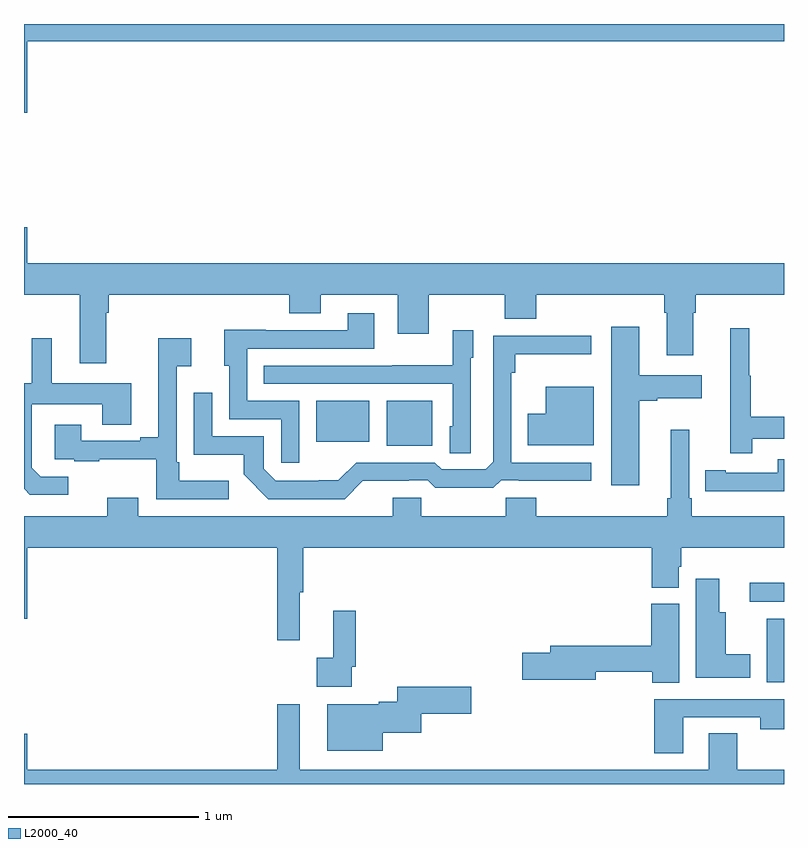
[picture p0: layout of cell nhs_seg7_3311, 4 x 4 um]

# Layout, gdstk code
import gdstk
lib = gdstk.Library(unit=1e-6, precision=1e-09)
def R(c, l, rs):  # rectangles x0, y0, x1, y1
    for r in rs: c.add(gdstk.rectangle(r[:2], r[2:], *l))
def P(c, l, *ps):  # polygons
    for p in ps: c.add(gdstk.Polygon(p, *l))
L2000_40 = (2000, 40)

nhs_seg7_3311 = lib.new_cell('nhs_seg7_3311')
R(nhs_seg7_3311, L2000_40, [(324.908,1038.536,325,1038.871), (324.819,1038.96,325,1039.058), (322.91,1039.781,323.149,1040.017), (322.538,1039.802,322.816,1040.017)])
P(nhs_seg7_3311, L2000_40, [(321.016,1041.908),(325,1041.908),(325,1042),(321,1042),(321,1041.534),(321.016,1041.534)],
  [(321.433,1040.48),(321.446,1040.48),(321.446,1040.576),(322.397,1040.576),(322.397,1040.477),(322.561,1040.477),(322.561,1040.576),(322.967,1040.576),(322.967,1040.37),(323.131,1040.37),(323.131,1040.576),(323.531,1040.576),(323.531,1040.448),(323.695,1040.448),(323.695,1040.576),(324.371,1040.576),(324.371,1040.48),(324.383,1040.48),(324.383,1040.256),(324.523,1040.256),(324.523,1040.48),(324.536,1040.48),(324.536,1040.576),(325,1040.576),(325,1040.74),(321.016,1040.74),(321.016,1040.929),(321,1040.929),(321,1040.576),(321.293,1040.576),(321.293,1040.214),(321.433,1040.214)],
  [(322.449,1040.016),(322.176,1040.016),(322.176,1040.292),(322.843,1040.292),(322.843,1040.478),(322.703,1040.478),(322.703,1040.388),(322.273,1040.388),(322.273,1040.39),(322.055,1040.39),(322.055,1040.202),(322.08,1040.202),(322.08,1039.92),(322.353,1039.92),(322.353,1039.692),(322.449,1039.692)],
  [(324.238,1040.018),(324.334,1040.018),(324.334,1040.03),(324.568,1040.03),(324.568,1040.152),(324.238,1040.152),(324.238,1040.407),(324.092,1040.407),(324.092,1039.572),(324.238,1039.572)],
  [(324.833,1039.818),(325,1039.818),(325,1039.934),(324.826,1039.934),(324.826,1040.148),(324.818,1040.148),(324.818,1040.398),(324.716,1040.398),(324.716,1039.74),(324.833,1039.74)],
  [(323.352,1040.244),(323.365,1040.244),(323.365,1040.389),(323.256,1040.389),(323.256,1040.203),(322.939,1040.203),(322.939,1040.202),(322.261,1040.202),(322.261,1040.106),(323.256,1040.106),(323.256,1039.884),(323.24,1039.884),(323.24,1039.741),(323.352,1039.741)],
  [(322.784,1039.595),(323.024,1039.595),(323.024,1039.599),(323.124,1039.599),(323.164,1039.56),(323.471,1039.56),(323.511,1039.599),(323.605,1039.599),(323.605,1039.595),(323.986,1039.595),(323.986,1039.692),(323.565,1039.692),(323.565,1040.165),(323.585,1040.165),(323.585,1040.261),(323.986,1040.261),(323.986,1040.358),(323.469,1040.358),(323.469,1039.695),(323.43,1039.656),(323.199,1039.656),(323.163,1039.692),(322.749,1039.692),(322.655,1039.598),(322.55,1039.598),(322.55,1039.596),(322.326,1039.596),(322.263,1039.659),(322.263,1039.83),(321.99,1039.83),(321.99,1040.059),(321.894,1040.059),(321.894,1039.733),(322.156,1039.733),(322.156,1039.631),(322.286,1039.5),(322.689,1039.5)],
  [(322.078,1039.597),(321.817,1039.597),(321.817,1039.693),(321.804,1039.693),(321.804,1040.198),(321.88,1040.198),(321.88,1040.347),(321.707,1040.347),(321.707,1039.825),(321.611,1039.825),(321.611,1039.806),(321.301,1039.806),(321.301,1039.891),(321.161,1039.891),(321.161,1039.71),(321.265,1039.71),(321.265,1039.698),(321.397,1039.698),(321.397,1039.709),(321.696,1039.709),(321.696,1039.5),(322.078,1039.5)],
  [(321.232,1039.617),(321.087,1039.617),(321.04,1039.664),(321.04,1039.759),(321.042,1039.759),(321.042,1040),(321.413,1040),(321.413,1039.891),(321.565,1039.891),(321.565,1040.11),(321.145,1040.11),(321.145,1040.347),(321.041,1040.347),(321.041,1040.108),(321,1040.108),(321,1039.554),(321.031,1039.523),(321.232,1039.523)],
  [(323.998,1040.092),(323.747,1040.092),(323.747,1039.95),(323.65,1039.95),(323.65,1039.784),(323.998,1039.784)],
  [(322.451,1039.008),(322.469,1039.008),(322.469,1039.244),(324.305,1039.244),(324.305,1039.033),(324.445,1039.033),(324.445,1039.143),(324.458,1039.143),(324.458,1039.244),(325,1039.244),(325,1039.408),(324.515,1039.408),(324.515,1039.504),(324.501,1039.504),(324.501,1039.864),(324.404,1039.864),(324.404,1039.504),(324.385,1039.504),(324.385,1039.408),(323.696,1039.408),(323.696,1039.506),(323.536,1039.506),(323.536,1039.408),(323.091,1039.408),(323.091,1039.506),(322.94,1039.506),(322.94,1039.408),(321.601,1039.408),(321.601,1039.507),(321.437,1039.507),(321.437,1039.408),(321,1039.408),(321,1038.87),(321.016,1038.87),(321.016,1039.244),(322.333,1039.244),(322.333,1038.756),(322.451,1038.756)],
  [(325,1039.71),(324.966,1039.71),(324.966,1039.638),(324.694,1039.638),(324.694,1039.651),(324.586,1039.651),(324.586,1039.542),(324.694,1039.542),(324.694,1039.541),(325,1039.541)],
  [(324.823,1038.682),(324.694,1038.682),(324.694,1038.904),(324.658,1038.904),(324.658,1039.081),(324.536,1039.081),(324.536,1038.56),(324.823,1038.56)],
  [(324.448,1038.948),(324.302,1038.948),(324.302,1038.728),(323.771,1038.728),(323.771,1038.692),(323.622,1038.692),(323.622,1038.55),(324.01,1038.55),(324.01,1038.592),(324.307,1038.592),(324.307,1038.532),(324.448,1038.532)],
  [(322.725,1038.616),(322.745,1038.616),(322.745,1038.913),(322.628,1038.913),(322.628,1038.665),(322.542,1038.665),(322.542,1038.512),(322.725,1038.512)],
  [(322.888,1038.269),(323.092,1038.269),(323.092,1038.37),(323.353,1038.37),(323.353,1038.512),(322.964,1038.512),(322.964,1038.434),(322.868,1038.434),(322.868,1038.421),(322.595,1038.421),(322.595,1038.176),(322.888,1038.176)],
  [(324.469,1038.351),(324.874,1038.351),(324.874,1038.288),(325,1038.288),(325,1038.447),(324.317,1038.447),(324.317,1038.162),(324.469,1038.162)],
  [(325,1038.076),(324.753,1038.076),(324.753,1038.266),(324.605,1038.266),(324.605,1038.076),(322.45,1038.076),(322.45,1038.421),(322.333,1038.421),(322.333,1038.076),(321.016,1038.076),(321.016,1038.265),(321,1038.265),(321,1038),(325,1038)])

lib.write_gds('nhs_seg7_3311.gds')
